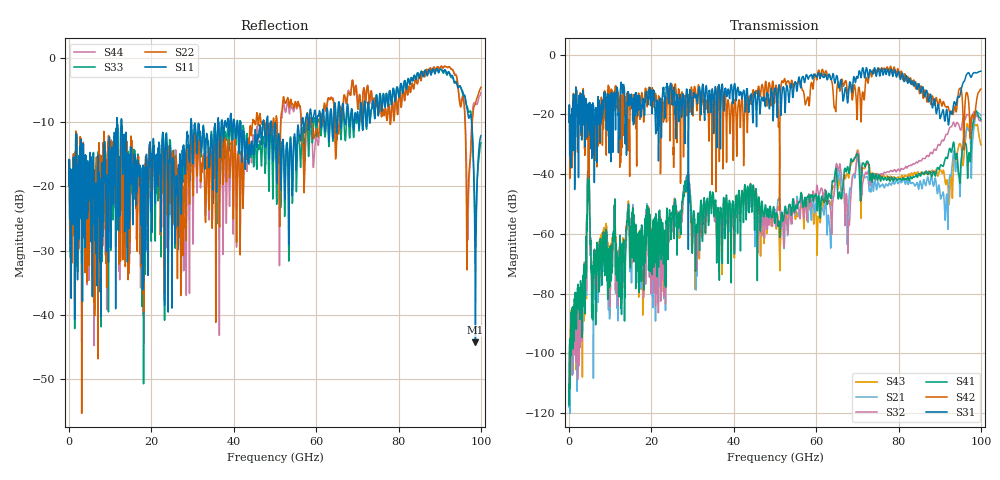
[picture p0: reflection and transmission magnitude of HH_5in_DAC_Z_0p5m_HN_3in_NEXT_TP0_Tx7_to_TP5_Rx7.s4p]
# GHz S RI R 45
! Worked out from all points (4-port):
!   4000 points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, 25 MHz to 100 GHz, reference 45 ohm
!   strongest paths, dB at 25 MHz, 25.02 GHz, 50.02 GHz, 75.03 GHz, 100 GHz:
!     S31: -22.5, -16.4, -11.4, -4.4, -5.5
!     S42: -22.5, -11.1, -12.9, -5.1, -11.5
!     S41: -110.5, -53.0, -55.9, -41.6, -21.7
!     S32: -109.8, -56.6, -54.0, -40.9, -22.2
!     S21: -113.4, -55.4, -52.1, -42.6, -20.4
!     S43: -108.7, -55.3, -53.8, -39.9, -30.1
!   lowest |S11| = -44.3 dB at 98.67 GHz (marker M1), VSWR 1.01, Z = 45.5 - j0.0974 ohm
!   |S11| at or under -10 dB: start of sweep to 11.59 GHz; 12.77 GHz to 29.6 GHz (16.83 GHz wide, 79.4 % of centre); 49.11 GHz to 56.55 GHz (7.438 GHz wide, 14.1 % of centre)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
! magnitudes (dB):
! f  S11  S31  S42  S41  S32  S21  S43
! 25 MHz  -19.9  -22.5  -22.5  -110.5  -109.8  -113.4  -108.7
! 4.75 GHz  -18.5  -19.1  -26.2  -43.0  -43.0  -43.2  -42.9
! 11.88 GHz  -17.1  -17.3  -13.7  -75.1  -78.0  -80.9  -79.2
! 28.62 GHz  -12.2  -11.5  -15.6  -45.7  -43.9  -44.1  -44.9
! 91.6 GHz  -2.3  -18.6  -17.6  -34.3  -26.6  -47.6  -43.3
! 98.67 GHz  -44.3  -6.0  -18.4  -19.0  -19.6  -20.8  -23.4
! 100 GHz  -12.1  -5.5  -11.5  -21.7  -22.2  -20.4  -30.1
